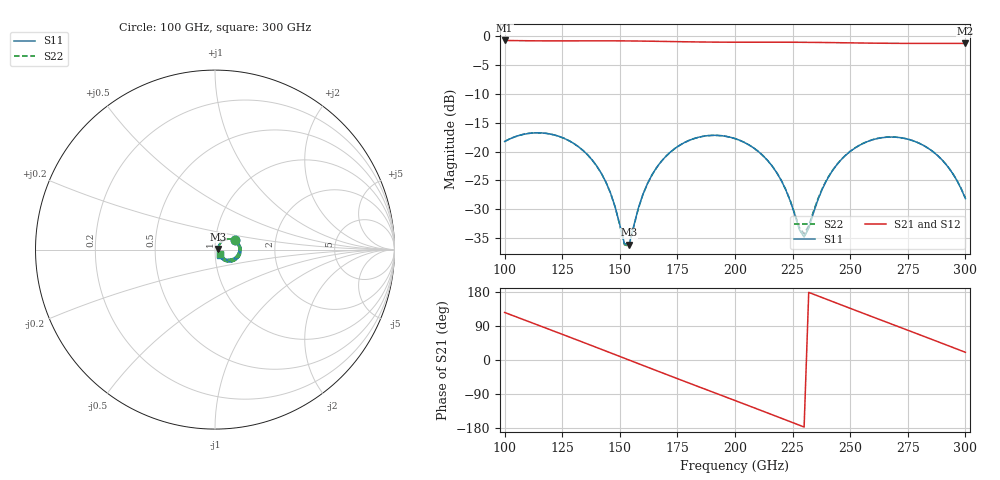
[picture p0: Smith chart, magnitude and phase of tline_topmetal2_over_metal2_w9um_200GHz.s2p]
#  GHZ S DB R 50
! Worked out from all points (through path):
!   101 points, 100 GHz to 300 GHz, reference 50 ohm
!   highest |S21| = -0.72 dB at 100 GHz (marker M1); lowest = -1.2 dB at 300 GHz (marker M2)
!   group delay of S21, straight-line fit = 6.46 ps
!   lowest |S11| = -36.2 dB at 154 GHz (marker M3), VSWR 1.03, Z = 51.5 + j0.435 ohm
!   |S11| at or under -10 dB: start of sweep to end of sweep
!   |S22| runs from -36.4 to -16.7 dB; largest |S21 - S12| = 1.6e-13
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100  -18.27 26.8  -0.72 125.5  -0.72 125.5  -18.26 26.6
116  -16.77 -6.1  -0.79 88.6  -0.79 88.6  -16.77 -6.3
134  -19.80 -42.1  -0.79 46.9  -0.79 46.9  -19.79 -42.4
144  -25.33 -56.8  -0.79 23.5  -0.79 23.5  -25.33 -57.3
148  -29.64 -55.1  -0.79 14.1  -0.79 14.1  -29.66 -55.8
152  -35.99 -23.5  -0.80 4.7  -0.80 4.7  -36.18 -24.5
154  -36.16 15.7  -0.81 -0.0  -0.81 -0.0  -36.42 15.9
160  -27.46 51.9  -0.84 -14.2  -0.84 -14.2  -27.51 52.4
168  -21.71 44.2  -0.89 -32.9  -0.89 -32.9  -21.73 44.5
184  -17.53 13.9  -0.98 -70.0  -0.98 -70.0  -17.55 14.2
200  -17.75 -18.1  -1.03 -106.9  -1.03 -106.9  -17.76 -17.7
216  -22.44 -46.2  -1.03 -144.1  -1.03 -144.1  -22.45 -45.4
222  -26.60 -50.3  -1.03 -158.1  -1.03 -158.1  -26.56 -48.9
230  -34.83 1.6  -1.05 -176.9  -1.05 -176.9  -34.28 2.2
234  -30.71 42.2  -1.06 173.7  -1.06 173.7  -30.44 40.7
240  -24.82 49.2  -1.09 159.7  -1.09 159.7  -24.73 48.2
248  -20.66 39.0  -1.13 141.0  -1.13 141.0  -20.62 38.4
258  -18.19 20.7  -1.18 117.8  -1.18 117.8  -18.17 20.3
268  -17.48 1.0  -1.22 94.7  -1.22 94.7  -17.47 0.7
286  -20.04 -33.2  -1.23 53.0  -1.23 53.0  -20.03 -33.1
294  -23.51 -44.5  -1.23 34.4  -1.23 34.4  -23.48 -44.0
300  -28.15 -44.3  -1.24 20.3  -1.24 20.3  -28.05 -43.1
